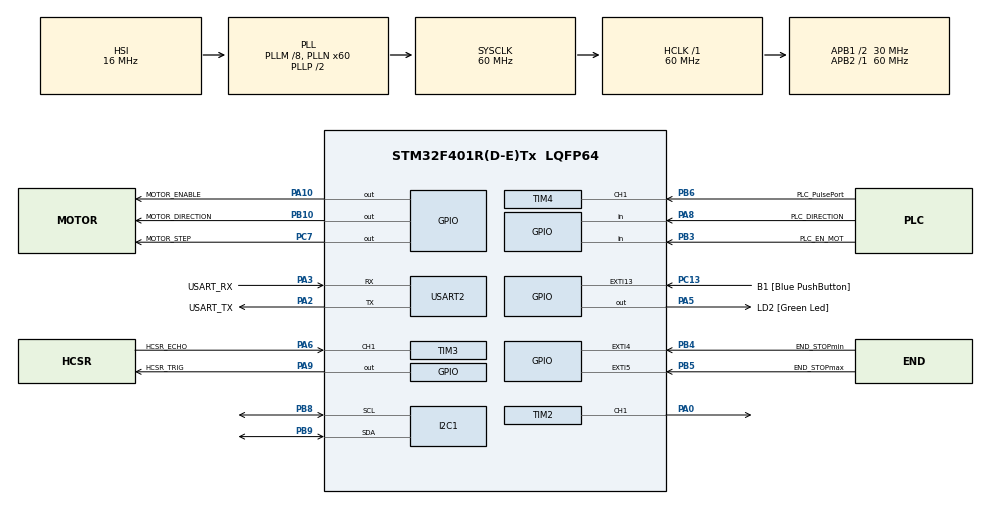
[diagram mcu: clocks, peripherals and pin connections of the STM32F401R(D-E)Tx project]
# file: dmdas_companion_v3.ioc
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Mcu.Family=STM32F4
Mcu.Name=STM32F401R(D-E)Tx
Mcu.Package=LQFP64
NVIC.EXTI4_IRQn=true\:0\:0\:false\:false\:true\:true\:true
NVIC.EXTI9_5_IRQn=true\:0\:0\:false\:false\:true\:true\:true
NVIC.PriorityGroup=NVIC_PRIORITYGROUP_2
NVIC.TIM3_IRQn=true\:1\:0\:true\:false\:true\:true\:true
NVIC.TIM4_IRQn=true\:0\:0\:false\:false\:true\:true\:true
NVIC.USART2_IRQn=true\:1\:1\:true\:false\:true\:true\:true
PA0-WKUP.Signal=S_TIM2_CH1_ETR
PA10.GPIO_Label=MOTOR_ENABLE
PA10.PinState=GPIO_PIN_SET
PA10.Signal=GPIO_Output
PA13.GPIO_Label=TMS
PA13.Mode=Serial_Wire
PA13.Signal=SYS_JTMS-SWDIO
PA14.GPIO_Label=TCK
PA14.Mode=Serial_Wire
PA14.Signal=SYS_JTCK-SWCLK
PA2.GPIO_Label=USART_TX
PA2.GPIO_Mode=GPIO_MODE_AF_PP
PA2.GPIO_PuPd=GPIO_NOPULL
PA2.GPIO_Speed=GPIO_SPEED_FREQ_LOW
PA2.Mode=Asynchronous
PA2.Signal=USART2_TX
PA3.GPIO_Label=USART_RX
PA3.GPIO_Mode=GPIO_MODE_AF_PP
PA3.GPIO_PuPd=GPIO_NOPULL
PA3.GPIO_Speed=GPIO_SPEED_FREQ_LOW
PA3.Mode=Asynchronous
PA3.Signal=USART2_RX
PA5.GPIO_Label=LD2 [Green Led]
PA5.GPIO_Mode=GPIO_MODE_OUTPUT_PP
PA5.GPIO_PuPd=GPIO_NOPULL
PA5.GPIO_Speed=GPIO_SPEED_FREQ_LOW
PA5.Signal=GPIO_Output
PA6.GPIO_Label=HCSR_ECHO
PA6.Signal=S_TIM3_CH1
PA8.GPIO_Label=PLC_DIRECTION
PA8.GPIO_PuPd=GPIO_PULLUP
PA8.Signal=GPIO_Input
PA9.GPIO_Label=HCSR_TRIG
PA9.Signal=GPIO_Output
PB10.GPIO_Label=MOTOR_DIRECTION
PB10.Signal=GPIO_Output
PB3.GPIO_Label=PLC_EN_MOT
PB3.GPIO_PuPd=GPIO_PULLUP
PB3.Signal=GPIO_Input
PB4.GPIO_Label=END_STOPmin
PB4.GPIO_PuPd=GPIO_PULLDOWN
PB4.Signal=GPXTI4
PB5.GPIO_Label=END_STOPmax
PB5.GPIO_PuPd=GPIO_PULLDOWN
PB5.Signal=GPXTI5
PB6.GPIO_Label=PLC_PulsePort
PB6.Signal=S_TIM4_CH1
PB8.GPIO_Pu=GPIO_PULLUP
PB8.Mode=I2C
PB8.Signal=I2C1_SCL
PB9.GPIO_Pu=GPIO_PULLUP
PB9.Mode=I2C
PB9.Signal=I2C1_SDA
PC13-ANTI_TAMP.GPIO_Label=B1 [Blue PushButton]
PC13-ANTI_TAMP.GPIO_ModeDefaultEXTI=GPIO_MODE_IT_FALLING
PC13-ANTI_TAMP.GPIO_PuPd=GPIO_NOPULL
PC13-ANTI_TAMP.Signal=GPXTI13
PC14-OSC32_IN.Mode=LSE-External-Oscillator
PC14-OSC32_IN.Signal=RCC_OSC32_IN
PC15-OSC32_OUT.Mode=LSE-External-Oscillator
PC15-OSC32_OUT.Signal=RCC_OSC32_OUT
PC7.GPIO_Label=MOTOR_STEP
PC7.Signal=GPIO_Output
PH0\ -\ OSC_IN.Mode=HSE-External-Clock-Source
PH0\ -\ OSC_IN.Signal=RCC_OSC_IN
PH1\ -\ OSC_OUT.Mode=HSE-External-Clock-Source
PH1\ -\ OSC_OUT.Signal=RCC_OSC_OUT
ProjectManager.HeapSize=0x200
ProjectManager.StackSize=0x400
ProjectManager.TargetToolchain=STM32CubeIDE
RCC.48MHZClocksFreq_Value=17142857.14285714
RCC.AHBFreq_Value=60000000
RCC.APB1CLKDivider=RCC_HCLK_DIV2
RCC.APB1Freq_Value=30000000
RCC.APB1TimFreq_Value=60000000
RCC.APB2Freq_Value=60000000
RCC.APB2TimFreq_Value=60000000
RCC.CortexFreq_Value=60000000
RCC.HCLKFreq_Value=60000000
RCC.HSE_VALUE=8000000
RCC.HSI_VALUE=16000000
RCC.PLLM=8
RCC.PLLN=60
RCC.PLLQ=7
RCC.SYSCLKFreq_VALUE=60000000
RCC.SYSCLKSource=RCC_SYSCLKSOURCE_PLLCLK
RCC.VCOOutputFreq_Value=120000000
SH.S_TIM2_CH1_ETR.0=TIM2_CH1,PWM Generation1 CH1
SH.S_TIM3_CH1.0=TIM3_CH1,Input_Capture1_from_TI1
SH.S_TIM4_CH1.0=TIM4_CH1,Input_Capture1_from_TI1
TIM2.Channel-PWM\ Generation1\ CH1=TIM_CHANNEL_1
TIM2.Period=299
TIM2.Prescaler=1
TIM2.Pulse-PWM\ Generation1\ CH1=146
TIM3.Channel-Input_Capture1_from_TI1=TIM_CHANNEL_1
TIM3.Prescaler=59
TIM4.Channel-Input_Capture1_from_TI1=TIM_CHANNEL_1
TIM4.Period=65535
TIM4.Prescaler=59999
USART2.VirtualMode=VM_ASYNC
board=NUCLEO-F401RE

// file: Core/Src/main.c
/* USER CODE BEGIN Header */
/**
  ******************************************************************************
  * @file           : main.c
  * @brief          : Main program body
  ******************************************************************************
  * @attention
  *
  * <h2><center>&copy; Copyright (c) 2021 STMicroelectronics.
  * All rights reserved.</center></h2>
  *
  * This software component is licensed by ST under BSD 3-Clause license,
  * the "License"; You may not use this file except in compliance with the
  * License. You may obtain a copy of the License at:
  *                        opensource.org/licenses/BSD-3-Clause
  *
  ******************************************************************************
  */
/* USER CODE END Header */
#include "main.h"
#include "i2c.h"
#include "tim.h"
#include "usart.h"
#include "gpio.h"

/* USER CODE BEGIN Includes */
#include "si5351.h"
/* USER CODE END Includes */

/* USER CODE BEGIN PD */

#define DMILLIM_USTEP_CONSTANT 0.012528906

/* USER CODE END PD */

/* USER CODE BEGIN PV */

/*HCSR04 variables*/

uint8_t rised_hc=0;
uint16_t dist_time1=0;
uint32_t distance=0;

/*PLC COMMUNICATION Variables*/

uint8_t rised_plc=0;
uint8_t first_wave_rec=0;
uint16_t dur1=0;
uint16_t dur2=0;
uint16_t dur_time1=0;
uint16_t magic_number=0;

/* STEPPER MOTOR VARIABLES*/
uint8_t moving = 0;
int16_t open_loop_motor_position = 0;
uint8_t move_mot = 0;
uint8_t motor_moved = 0;
uint8_t direction = 0;
uint8_t startup_movement = 0;
uint32_t tare_counter = 0;
uint8_t back_movement = 0;

/* UART Variables*/

volatile uint8_t cmd_char = 0;
int distance_avg = 0;
char buffer[32] = "";
int dim=0;
/* USER CODE END PV */

void SystemClock_Config(void);

/* USER CODE BEGIN 0 */
void delay_us(uint16_t time){
	__HAL_TIM_SET_COUNTER(&htim3,0);
	while(__HAL_TIM_GET_COUNTER(&htim3)<time);
}
void HAL_TIM_IC_CaptureCallback(TIM_HandleTypeDef *htim){
	/* HC_SR04 INTERRUPT*/
	if(htim->Instance == TIM3){
		uint16_t val = HAL_TIM_ReadCapturedValue(&htim3, TIM_CHANNEL_1);
		if(!rised_hc){
			dist_time1 = val;
			rised_hc = 1;
			__HAL_TIM_SET_CAPTUREPOLARITY(htim, TIM_CHANNEL_1, TIM_INPUTCHANNELPOLARITY_FALLING);
		}else{ //falling
			if(val >= dist_time1){
				distance = ((val - dist_time1)*0.17); // millimetri
			}else{
				distance = (((0xffff-dist_time1)+val)*0.17);
			}
			rised_hc = 0;
			__HAL_TIM_SET_CAPTUREPOLARITY(htim, TIM_CHANNEL_1, TIM_INPUTCHANNELPOLARITY_RISING);
		}

	}
	/*CUSTOM PROTOCOL INTERRUPT*/
	if(htim->Instance == TIM4){

		uint16_t val = HAL_TIM_ReadCapturedValue(&htim4, TIM_CHANNEL_1);
		if(first_wave_rec==0){

			if(!rised_plc){

				dur_time1 = val;
				rised_plc = 1;
				__HAL_TIM_SET_CAPTUREPOLARITY(htim, TIM_CHANNEL_1, TIM_INPUTCHANNELPOLARITY_FALLING);
				}else{

					if(val>=dur_time1){
						dur1= val-dur_time1;
					}else{
						dur1= (0xffff-dur_time1)+val;
					}
					rised_plc=0;
					__HAL_TIM_SET_CAPTUREPOLARITY(htim, TIM_CHANNEL_1, TIM_INPUTCHANNELPOLARITY_RISING);
					first_wave_rec=1;
				}

			}else{

				if(!rised_plc){

					dur_time1 = val;
					rised_plc = 1;
					__HAL_TIM_SET_CAPTUREPOLARITY(htim, TIM_CHANNEL_1, TIM_INPUTCHANNELPOLARITY_FALLING);
					}else{

						if(val>=dur_time1){
							dur2= val-dur_time1;
						}else{
							dur2= (0xffff-dur_time1)+val;
						}
						rised_plc=0;
						__HAL_TIM_SET_CAPTUREPOLARITY(htim, TIM_CHANNEL_1, TIM_INPUTCHANNELPOLARITY_RISING);
						first_wave_rec=0;
						dur1 = (dur1/15)-15;
						dur2 = (dur2/15)-15;
						magic_number = (dur1<<5)|dur2;

					}

		}

	}

}

void HCSR04_trigger(){
	HAL_GPIO_WritePin(HCSR_TRIG_GPIO_Port, HCSR_TRIG_Pin, GPIO_PIN_SET);
	delay_us(10);
	HAL_GPIO_WritePin(HCSR_TRIG_GPIO_Port, HCSR_TRIG_Pin, GPIO_PIN_RESET);

}

void move_stepper(uint32_t steps){
	HAL_GPIO_WritePin(MOTOR_DIRECTION_GPIO_Port, MOTOR_DIRECTION_Pin,direction );
	HAL_GPIO_WritePin(MOTOR_ENABLE_GPIO_Port, MOTOR_ENABLE_Pin, 0);
	 for (int i = 0; i <steps ; i++)
	  {
		 if(((direction == 1) && HAL_GPIO_ReadPin(END_STOPmin_GPIO_Port, END_STOPmin_Pin))||
				 ((direction == 0)&& HAL_GPIO_ReadPin(END_STOPmax_GPIO_Port, END_STOPmax_Pin))){

			 break;
		 }

		 HAL_GPIO_WritePin(MOTOR_STEP_GPIO_Port, MOTOR_STEP_Pin, 1);
		 delay_us(30);
		 HAL_GPIO_WritePin(MOTOR_STEP_GPIO_Port, MOTOR_STEP_Pin, 0);
		 delay_us(30);

	  }
	 HAL_GPIO_WritePin(MOTOR_ENABLE_GPIO_Port, MOTOR_ENABLE_Pin, 1);

}

void move_stepper_dec_mm(uint32_t dec_mm){
	moving = 1;
	if(direction){
		open_loop_motor_position -= dec_mm;
	}else{

		open_loop_motor_position += dec_mm;

	}
	move_stepper((uint32_t)(dec_mm/DMILLIM_USTEP_CONSTANT));
	moving = 0;
}
/* USER CODE END 0 */

int main(void)
{

  /* MCU Configuration--------------------------------------------------------*/

  /* Reset of all peripherals, Initializes the Flash interface and the Systick. */
  HAL_Init();

  /* Configure the system clock */
  SystemClock_Config();

  /* Initialize all configured peripherals */
  MX_GPIO_Init();
  MX_USART2_UART_Init();
  MX_TIM3_Init();
  MX_TIM4_Init();
  MX_I2C1_Init();
  MX_TIM2_Init();
  /* USER CODE BEGIN 2 */

  HAL_TIM_IC_Start_IT(&htim3, TIM_CHANNEL_1);
  HAL_TIM_IC_Start_IT(&htim4, TIM_CHANNEL_1);
  HAL_TIM_PWM_Start(&htim2, TIM_CHANNEL_1);

  HAL_UART_Receive_IT(&huart2, &cmd_char, 1);
  /*si5351_Init();
  si5351_setupPLLInt(SI5351_PLL_A, 32);
  si5351_setupMultisynth(0, SI5351_PLL_A, 4, 1000-4, 1);
  si5351_setupRdiv(0, SI5351_R_DIV_8);
  si5351_enableOutputs(0xFF);*/

  if(!HAL_GPIO_ReadPin(END_STOPmin_GPIO_Port, END_STOPmin_Pin)){
  		back_movement = 1;
  	}
  /* USER CODE END 2 */

  /* Infinite loop */
  /* USER CODE BEGIN WHILE */
  while (1)
  {

	  HAL_Delay(100);
	  HCSR04_trigger();
	  move_mot = !HAL_GPIO_ReadPin(PLC_EN_MOT_GPIO_Port, PLC_EN_MOT_Pin);
	  direction = HAL_GPIO_ReadPin(PLC_DIRECTION_GPIO_Port, PLC_DIRECTION_Pin);
	  if(move_mot&&(!motor_moved)){

		  move_stepper_dec_mm(magic_number);
		  motor_moved = 1;
	  }

	  if(startup_movement){
		  direction =0;
		  move_stepper(600);
	  }else if(back_movement){
		  direction = 1;
		  move_stepper(600);
		  tare_counter += 600;
	  }

    /* USER CODE END WHILE */

  }
}

void SystemClock_Config(void)
{
  RCC_OscInitTypeDef RCC_OscInitStruct = {0};
  RCC_ClkInitTypeDef RCC_ClkInitStruct = {0};

  /** Configure the main internal regulator output voltage
  */
  __HAL_RCC_PWR_CLK_ENABLE();
  __HAL_PWR_VOLTAGESCALING_CONFIG(PWR_REGULATOR_VOLTAGE_SCALE2);
  /** Initializes the RCC Oscillators according to the specified parameters
  * in the RCC_OscInitTypeDef structure.
  */
  RCC_OscInitStruct.OscillatorType = RCC_OSCILLATORTYPE_HSI;
  RCC_OscInitStruct.HSIState = RCC_HSI_ON;
  RCC_OscInitStruct.HSICalibrationValue = RCC_HSICALIBRATION_DEFAULT;
  RCC_OscInitStruct.PLL.PLLState = RCC_PLL_ON;
  RCC_OscInitStruct.PLL.PLLSource = RCC_PLLSOURCE_HSI;
  RCC_OscInitStruct.PLL.PLLM = 8;
  RCC_OscInitStruct.PLL.PLLN = 60;
  RCC_OscInitStruct.PLL.PLLP = RCC_PLLP_DIV2;
  RCC_OscInitStruct.PLL.PLLQ = 7;
  if (HAL_RCC_OscConfig(&RCC_OscInitStruct) != HAL_OK)
  {
    Error_Handler();
  }
  /** Initializes the CPU, AHB and APB buses clocks
  */
  RCC_ClkInitStruct.ClockType = RCC_CLOCKTYPE_HCLK|RCC_CLOCKTYPE_SYSCLK
                              |RCC_CLOCKTYPE_PCLK1|RCC_CLOCKTYPE_PCLK2;
  RCC_ClkInitStruct.SYSCLKSource = RCC_SYSCLKSOURCE_PLLCLK;
  RCC_ClkInitStruct.AHBCLKDivider = RCC_SYSCLK_DIV1;
  RCC_ClkInitStruct.APB1CLKDivider = RCC_HCLK_DIV2;
  RCC_ClkInitStruct.APB2CLKDivider = RCC_HCLK_DIV1;

  if (HAL_RCC_ClockConfig(&RCC_ClkInitStruct, FLASH_LATENCY_1) != HAL_OK)
  {
    Error_Handler();
  }
}

/* USER CODE BEGIN 4 */
void HAL_UART_RxCpltCallback(UART_HandleTypeDef *huart)
{
	switch(cmd_char){
	case 'a':
		distance_avg=0;
		for(int k=0; k<10;k++){
			distance_avg += distance;
		}
		buffer[32] = "";
		dim = sprintf(buffer,"%f\n",(float)(distance_avg/10.0)); //media + conversione in millimetri
		HAL_UART_Transmit_IT(&huart2, buffer,dim);
		//HAL_TIM_Base_Stop_IT(&htim11);
		break;
	case 'b':
		buffer[32] = "";
		dim = sprintf(buffer,"%f\n",open_loop_motor_position/10.0);
		HAL_UART_Transmit_IT(&huart2, buffer,dim);
		break;
	case 'c':
		buffer[32] = "";
		dim = sprintf(buffer,"%d\n",moving);
		HAL_UART_Transmit_IT(&huart2, buffer,dim);
		break;
	case 'd':
		buffer[32] = "";
		dim = sprintf(buffer,"%d\n",magic_number);
		HAL_UART_Transmit_IT(&huart2, buffer,dim);
		motor_moved = 0;
		break;
	case 't':
		startup_movement = 1;
		break;
	case 'g':
		buffer[32] = "";
		dim = sprintf(buffer,"%f\n",(float)(tare_counter*DMILLIM_USTEP_CONSTANT/10));
		HAL_UART_Transmit_IT(&huart2, buffer,dim);
		break;
	default:

		HAL_UART_Transmit_IT(&huart2, "unknown char\n",13);

	}

	HAL_UART_Receive_IT(&huart2, &cmd_char, 1);
}

void HAL_TIM_PeriodElapsedCallback(TIM_HandleTypeDef *htim)
{
	if(htim->Instance==TIM11){
		HAL_GPIO_TogglePin(LD2_GPIO_Port, LD2_Pin);
	}

}

void HAL_GPIO_EXTI_Callback(uint16_t GPIO_Pin){

	if(GPIO_Pin == END_STOPmax_Pin){ // quando tocco l'endstop finale
		startup_movement = 0;
		HAL_UART_Transmit_IT(&huart2, "9\n",2);
		if(!HAL_GPIO_ReadPin(END_STOPmin_GPIO_Port, END_STOPmin_Pin)){
		  		back_movement = 1;
		  	}
		tare_counter = 0;

	}else if(GPIO_Pin==END_STOPmin_Pin){ // quando tocco l'endstop minimo
		back_movement = 0;
		HAL_UART_Transmit_IT(&huart2, "0\n",2);
	}
}

/* USER CODE END 4 */

void Error_Handler(void)
{
  __disable_irq();
  while (1)
  {
  }
}

/************************ (C) COPYRIGHT STMicroelectronics *****END OF FILE****/
